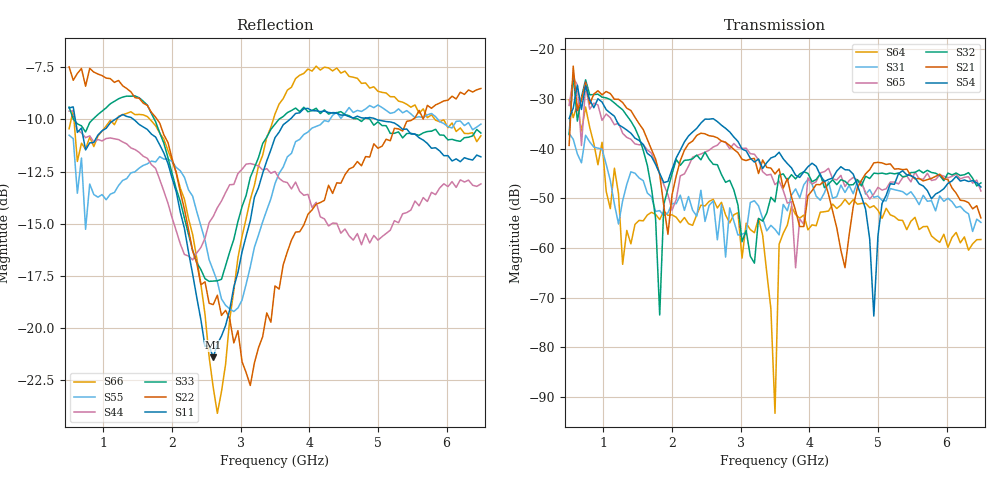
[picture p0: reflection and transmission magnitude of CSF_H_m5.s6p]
!Keysight Technologies,M9804A,MY58100912,A.14.10.03
!Date: Thursday, April 27, 2023 10:28:33
!Correction: S11(C  6-Port  )
!S12(C  6-Port  )
!S13(C  6-Port  )
!S14(C  6-Port  )
!S15(C  6-Port  )
!S16(C  6-Port  )
!S21(C  6-Port  )
!S22(C  6-Port  )
!S23(C  6-Port  )
!S24(C  6-Port  )
!S25(C  6-Port  )
!S26(C  6-Port  )
!S31(C  6-Port  )
!S32(C  6-Port  )
!S33(C  6-Port  )
!S34(C  6-Port  )
!S35(C  6-Port  )
!S36(C  6-Port  )
!S41(C  6-Port  )
!S42(C  6-Port  )
!S43(C  6-Port  )
!S44(C  6-Port  )
!S45(C  6-Port  )
!S46(C  6-Port  )
!S51(C  6-Port  )
!S52(C  6-Port  )
!S53(C  6-Port  )
!S54(C  6-Port  )
!S55(C  6-Port  )
!S56(C  6-Port  )
!S61(C  6-Port  )
!S62(C  6-Port  )
!S63(C  6-Port  )
!S64(C  6-Port  )
!S65(C  6-Port  )
!S66(C  6-Port  )
!S6P File: Measurement: :
# Hz S  RI  R 50
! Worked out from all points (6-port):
!   101 points, 500 MHz to 6.5 GHz, reference 50 ohm
!   strongest paths, dB at 500 MHz, 2 GHz, 3.5 GHz, 5 GHz, 6.5 GHz:
!     S54: -34.0, -44.2, -41.6, -57.6, -47.7
!     S21: -39.4, -49.3, -45.1, -42.8, -53.9
!     S32: -37.2, -45.1, -50.7, -45.0, -46.9
!     S65: -31.3, -52.4, -47.3, -47.8, -48.5
!     S31: -36.9, -51.0, -56.3, -49.6, -54.9
!     S64: -30.2, -53.3, -93.3, -52.4, -58.3
!   lowest |S11| = -21.4 dB at 2.6 GHz (marker M1), VSWR 1.19, Z = 42.4 + j2.17 ohm
!   |S11| at or under -10 dB: 589.4 MHz to 1.17 GHz (580.3 MHz wide, 66 % of centre); 1.439 GHz to 3.717 GHz (2.277 GHz wide, 88.3 % of centre); 4.978 GHz to end of sweep
